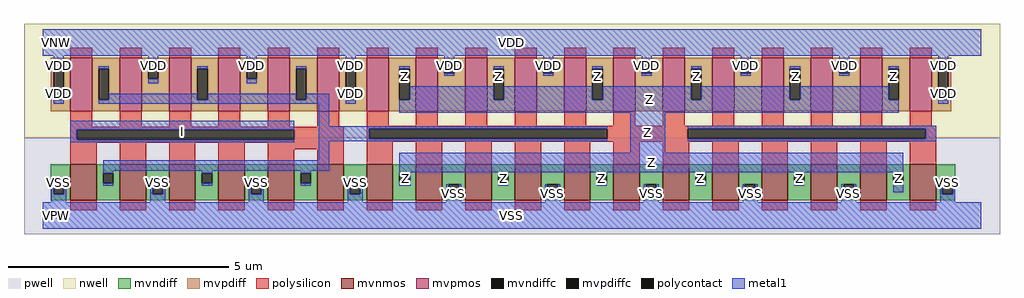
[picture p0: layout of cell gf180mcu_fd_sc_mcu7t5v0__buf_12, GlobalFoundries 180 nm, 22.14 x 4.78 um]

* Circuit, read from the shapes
.subckt gf180mcu_fd_sc_mcu7t5v0__buf_12 I Z VDD VNW VPW VSS
XM1 n1 I VSS VPW nfet_06v0 w=0.82u l=0.6u m=6
XM2 Z n1 VSS VPW nfet_06v0 w=0.82u l=0.6u m=12
XM3 n1 I VDD VNW pfet_06v0 w=1.22u l=0.5u m=6
XM4 Z n1 VDD VNW pfet_06v0 w=1.22u l=0.5u m=12
.ends

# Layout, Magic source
magic
tech gf180mcuD
magscale 1 10
<< nwell >>
rect -86 352 4342 870
<< pwell >>
rect -86 -86 4342 352
<< mvnmos >>
rect 124 68 244 232
rect 348 68 468 232
rect 572 68 692 232
rect 796 68 916 232
rect 1020 68 1140 232
rect 1244 68 1364 232
rect 1468 68 1588 232
rect 1692 68 1812 232
rect 1916 68 2036 232
rect 2140 68 2260 232
rect 2364 68 2484 232
rect 2588 68 2708 232
rect 2812 68 2932 232
rect 3036 68 3156 232
rect 3260 68 3380 232
rect 3484 68 3604 232
rect 3708 68 3828 232
rect 3932 68 4052 232
<< mvpmos >>
rect 124 472 224 716
rect 348 472 448 716
rect 572 472 672 716
rect 796 472 896 716
rect 1020 472 1120 716
rect 1244 472 1344 716
rect 1468 472 1568 716
rect 1692 472 1792 716
rect 1916 472 2016 716
rect 2140 472 2240 716
rect 2364 472 2464 716
rect 2588 472 2688 716
rect 2812 472 2912 716
rect 3036 472 3136 716
rect 3260 472 3360 716
rect 3484 472 3584 716
rect 3708 472 3808 716
rect 3932 472 4032 716
<< mvndiff >>
rect 36 142 124 232
rect 36 96 49 142
rect 95 96 124 142
rect 36 68 124 96
rect 244 192 348 232
rect 244 146 273 192
rect 319 146 348 192
rect 244 68 348 146
rect 468 142 572 232
rect 468 96 497 142
rect 543 96 572 142
rect 468 68 572 96
rect 692 192 796 232
rect 692 146 721 192
rect 767 146 796 192
rect 692 68 796 146
rect 916 142 1020 232
rect 916 96 945 142
rect 991 96 1020 142
rect 916 68 1020 96
rect 1140 192 1244 232
rect 1140 146 1169 192
rect 1215 146 1244 192
rect 1140 68 1244 146
rect 1364 142 1468 232
rect 1364 96 1393 142
rect 1439 96 1468 142
rect 1364 68 1468 96
rect 1588 192 1692 232
rect 1588 146 1617 192
rect 1663 146 1692 192
rect 1588 68 1692 146
rect 1812 142 1916 232
rect 1812 96 1841 142
rect 1887 96 1916 142
rect 1812 68 1916 96
rect 2036 192 2140 232
rect 2036 146 2065 192
rect 2111 146 2140 192
rect 2036 68 2140 146
rect 2260 142 2364 232
rect 2260 96 2289 142
rect 2335 96 2364 142
rect 2260 68 2364 96
rect 2484 192 2588 232
rect 2484 146 2513 192
rect 2559 146 2588 192
rect 2484 68 2588 146
rect 2708 142 2812 232
rect 2708 96 2737 142
rect 2783 96 2812 142
rect 2708 68 2812 96
rect 2932 192 3036 232
rect 2932 146 2961 192
rect 3007 146 3036 192
rect 2932 68 3036 146
rect 3156 142 3260 232
rect 3156 96 3185 142
rect 3231 96 3260 142
rect 3156 68 3260 96
rect 3380 192 3484 232
rect 3380 146 3409 192
rect 3455 146 3484 192
rect 3380 68 3484 146
rect 3604 142 3708 232
rect 3604 96 3633 142
rect 3679 96 3708 142
rect 3604 68 3708 96
rect 3828 192 3932 232
rect 3828 146 3857 192
rect 3903 146 3932 192
rect 3828 68 3932 146
rect 4052 142 4140 232
rect 4052 96 4081 142
rect 4127 96 4140 142
rect 4052 68 4140 96
<< mvpdiff >>
rect 36 665 124 716
rect 36 525 49 665
rect 95 525 124 665
rect 36 472 124 525
rect 224 665 348 716
rect 224 525 253 665
rect 299 525 348 665
rect 224 472 348 525
rect 448 665 572 716
rect 448 619 477 665
rect 523 619 572 665
rect 448 472 572 619
rect 672 665 796 716
rect 672 525 701 665
rect 747 525 796 665
rect 672 472 796 525
rect 896 665 1020 716
rect 896 619 925 665
rect 971 619 1020 665
rect 896 472 1020 619
rect 1120 665 1244 716
rect 1120 525 1149 665
rect 1195 525 1244 665
rect 1120 472 1244 525
rect 1344 665 1468 716
rect 1344 525 1373 665
rect 1419 525 1468 665
rect 1344 472 1468 525
rect 1568 665 1692 716
rect 1568 525 1617 665
rect 1663 525 1692 665
rect 1568 472 1692 525
rect 1792 691 1916 716
rect 1792 645 1821 691
rect 1867 645 1916 691
rect 1792 472 1916 645
rect 2016 665 2140 716
rect 2016 525 2045 665
rect 2091 525 2140 665
rect 2016 472 2140 525
rect 2240 691 2364 716
rect 2240 645 2269 691
rect 2315 645 2364 691
rect 2240 472 2364 645
rect 2464 665 2588 716
rect 2464 525 2493 665
rect 2539 525 2588 665
rect 2464 472 2588 525
rect 2688 691 2812 716
rect 2688 645 2717 691
rect 2763 645 2812 691
rect 2688 472 2812 645
rect 2912 665 3036 716
rect 2912 525 2941 665
rect 2987 525 3036 665
rect 2912 472 3036 525
rect 3136 691 3260 716
rect 3136 645 3165 691
rect 3211 645 3260 691
rect 3136 472 3260 645
rect 3360 665 3484 716
rect 3360 525 3389 665
rect 3435 525 3484 665
rect 3360 472 3484 525
rect 3584 691 3708 716
rect 3584 645 3613 691
rect 3659 645 3708 691
rect 3584 472 3708 645
rect 3808 665 3932 716
rect 3808 525 3837 665
rect 3883 525 3932 665
rect 3808 472 3932 525
rect 4032 665 4120 716
rect 4032 525 4061 665
rect 4107 525 4120 665
rect 4032 472 4120 525
<< mvndiffc >>
rect 49 96 95 142
rect 273 146 319 192
rect 497 96 543 142
rect 721 146 767 192
rect 945 96 991 142
rect 1169 146 1215 192
rect 1393 96 1439 142
rect 1617 146 1663 192
rect 1841 96 1887 142
rect 2065 146 2111 192
rect 2289 96 2335 142
rect 2513 146 2559 192
rect 2737 96 2783 142
rect 2961 146 3007 192
rect 3185 96 3231 142
rect 3409 146 3455 192
rect 3633 96 3679 142
rect 3857 146 3903 192
rect 4081 96 4127 142
<< mvpdiffc >>
rect 49 525 95 665
rect 253 525 299 665
rect 477 619 523 665
rect 701 525 747 665
rect 925 619 971 665
rect 1149 525 1195 665
rect 1373 525 1419 665
rect 1617 525 1663 665
rect 1821 645 1867 691
rect 2045 525 2091 665
rect 2269 645 2315 691
rect 2493 525 2539 665
rect 2717 645 2763 691
rect 2941 525 2987 665
rect 3165 645 3211 691
rect 3389 525 3435 665
rect 3613 645 3659 691
rect 3837 525 3883 665
rect 4061 525 4107 665
<< polysilicon >>
rect 124 716 224 760
rect 348 716 448 760
rect 572 716 672 760
rect 796 716 896 760
rect 1020 716 1120 760
rect 1244 716 1344 760
rect 1468 716 1568 760
rect 1692 716 1792 760
rect 1916 716 2016 760
rect 2140 716 2240 760
rect 2364 716 2464 760
rect 2588 716 2688 760
rect 2812 716 2912 760
rect 3036 716 3136 760
rect 3260 716 3360 760
rect 3484 716 3584 760
rect 3708 716 3808 760
rect 3932 716 4032 760
rect 124 402 224 472
rect 348 402 448 472
rect 572 402 672 472
rect 796 402 896 472
rect 1020 402 1120 472
rect 1244 402 1344 472
rect 1468 407 1568 472
rect 1692 407 1792 472
rect 1916 407 2016 472
rect 2140 407 2240 472
rect 2364 407 2464 472
rect 2588 407 2688 472
rect 2812 407 2912 472
rect 3036 407 3136 472
rect 3260 407 3360 472
rect 3484 407 3584 472
rect 3708 407 3808 472
rect 3932 407 4032 472
rect 124 389 1364 402
rect 124 343 153 389
rect 1139 343 1364 389
rect 124 330 1364 343
rect 124 232 244 330
rect 348 232 468 330
rect 572 232 692 330
rect 796 232 916 330
rect 1020 300 1364 330
rect 1020 232 1140 300
rect 1244 232 1364 300
rect 1468 394 4052 407
rect 1468 348 1481 394
rect 2561 348 2925 394
rect 4005 348 4052 394
rect 1468 335 4052 348
rect 1468 232 1588 335
rect 1692 232 1812 335
rect 1916 232 2036 335
rect 2140 232 2260 335
rect 2364 232 2484 335
rect 2588 232 2708 335
rect 2812 232 2932 335
rect 3036 232 3156 335
rect 3260 232 3380 335
rect 3484 232 3604 335
rect 3708 232 3828 335
rect 3932 232 4052 335
rect 124 24 244 68
rect 348 24 468 68
rect 572 24 692 68
rect 796 24 916 68
rect 1020 24 1140 68
rect 1244 24 1364 68
rect 1468 24 1588 68
rect 1692 24 1812 68
rect 1916 24 2036 68
rect 2140 24 2260 68
rect 2364 24 2484 68
rect 2588 24 2708 68
rect 2812 24 2932 68
rect 3036 24 3156 68
rect 3260 24 3380 68
rect 3484 24 3604 68
rect 3708 24 3828 68
rect 3932 24 4052 68
<< polycontact >>
rect 153 343 1139 389
rect 1481 348 2561 394
rect 2925 348 4005 394
<< metal1 >>
rect 0 724 4256 844
rect 49 665 95 724
rect 49 506 95 525
rect 253 665 299 676
rect 477 665 523 724
rect 477 600 523 619
rect 701 665 747 676
rect 299 525 701 552
rect 925 665 971 724
rect 925 600 971 619
rect 1149 665 1195 676
rect 747 525 1149 552
rect 1373 665 1419 724
rect 1821 691 1867 724
rect 1195 525 1299 552
rect 253 506 1299 525
rect 1373 506 1419 525
rect 1617 665 1663 676
rect 2269 691 2315 724
rect 1821 634 1867 645
rect 2045 665 2091 676
rect 1663 525 2045 586
rect 2717 691 2763 724
rect 2269 634 2315 645
rect 2493 665 2539 676
rect 2091 525 2493 586
rect 3165 691 3211 724
rect 2717 634 2763 645
rect 2941 665 2987 676
rect 2539 525 2941 586
rect 3613 691 3659 724
rect 3165 634 3211 645
rect 3389 665 3435 676
rect 2987 525 3389 586
rect 3613 634 3659 645
rect 3837 665 3883 676
rect 3435 525 3837 586
rect 124 389 1140 430
rect 124 343 153 389
rect 1139 343 1140 389
rect 124 332 1140 343
rect 1252 405 1299 506
rect 1617 466 3883 525
rect 4061 665 4107 724
rect 4061 506 4107 525
rect 1252 394 2561 405
rect 1252 348 1481 394
rect 1252 337 2561 348
rect 1252 250 1299 337
rect 2664 284 2824 466
rect 2925 394 4052 406
rect 4005 348 4052 394
rect 2925 337 4052 348
rect 273 203 1299 250
rect 273 192 319 203
rect 38 142 106 153
rect 38 96 49 142
rect 95 96 106 142
rect 721 192 767 203
rect 273 135 319 146
rect 486 142 554 153
rect 38 60 106 96
rect 486 96 497 142
rect 543 96 554 142
rect 1169 192 1215 203
rect 721 135 767 146
rect 934 142 1002 153
rect 486 60 554 96
rect 934 96 945 142
rect 991 96 1002 142
rect 1617 196 3903 284
rect 1617 192 1669 196
rect 1169 135 1215 146
rect 1382 142 1450 153
rect 934 60 1002 96
rect 1382 96 1393 142
rect 1439 96 1450 142
rect 1663 146 1669 192
rect 1617 135 1669 146
rect 2065 192 2111 196
rect 1382 60 1450 96
rect 1830 96 1841 142
rect 1887 96 1898 142
rect 2065 135 2111 146
rect 2513 192 2559 196
rect 1830 60 1898 96
rect 2278 96 2289 142
rect 2335 96 2346 142
rect 2513 135 2559 146
rect 2961 192 3007 196
rect 2278 60 2346 96
rect 2726 96 2737 142
rect 2783 96 2794 142
rect 2961 135 3007 146
rect 3409 192 3455 196
rect 2726 60 2794 96
rect 3174 96 3185 142
rect 3231 96 3242 142
rect 3409 135 3455 146
rect 3857 192 3903 196
rect 3174 60 3242 96
rect 3622 96 3633 142
rect 3679 96 3690 142
rect 3857 106 3903 146
rect 4070 142 4138 153
rect 3622 60 3690 96
rect 4070 96 4081 142
rect 4127 96 4138 142
rect 4070 60 4138 96
rect 0 -60 4256 60
<< labels >>
flabel metal1 s 3837 586 3883 676 0 FreeSans 600 0 0 0 Z
port 2 nsew default output
flabel metal1 s 124 332 1140 430 0 FreeSans 600 0 0 0 I
port 1 nsew default input
flabel metal1 s 0 724 4256 844 0 FreeSans 400 0 0 0 VDD
port 3 nsew power bidirectional abutment
flabel metal1 s 4070 142 4138 153 0 FreeSans 400 0 0 0 VSS
port 6 nsew ground bidirectional abutment
flabel nwell s 10 734 110 834 0 FreeSans 400 0 0 0 VNW
port 4 nsew power bidirectional
flabel pwell s 10 -50 110 50 0 FreeSans 400 0 0 0 VPW
port 5 nsew ground bidirectional
rlabel metal1 s 3389 586 3435 676 1 Z
port 2 nsew default output
rlabel metal1 s 2941 586 2987 676 1 Z
port 2 nsew default output
rlabel metal1 s 2493 586 2539 676 1 Z
port 2 nsew default output
rlabel metal1 s 2045 586 2091 676 1 Z
port 2 nsew default output
rlabel metal1 s 1617 586 1663 676 1 Z
port 2 nsew default output
rlabel metal1 s 1617 466 3883 586 1 Z
port 2 nsew default output
rlabel metal1 s 2664 284 2824 466 1 Z
port 2 nsew default output
rlabel metal1 s 1617 196 3903 284 1 Z
port 2 nsew default output
rlabel metal1 s 3857 135 3903 196 1 Z
port 2 nsew default output
rlabel metal1 s 3409 135 3455 196 1 Z
port 2 nsew default output
rlabel metal1 s 2961 135 3007 196 1 Z
port 2 nsew default output
rlabel metal1 s 2513 135 2559 196 1 Z
port 2 nsew default output
rlabel metal1 s 2065 135 2111 196 1 Z
port 2 nsew default output
rlabel metal1 s 1617 135 1669 196 1 Z
port 2 nsew default output
rlabel metal1 s 3857 106 3903 135 1 Z
port 2 nsew default output
rlabel metal1 s 4061 634 4107 724 1 VDD
port 3 nsew power bidirectional abutment
rlabel metal1 s 3613 634 3659 724 1 VDD
port 3 nsew power bidirectional abutment
rlabel metal1 s 3165 634 3211 724 1 VDD
port 3 nsew power bidirectional abutment
rlabel metal1 s 2717 634 2763 724 1 VDD
port 3 nsew power bidirectional abutment
rlabel metal1 s 2269 634 2315 724 1 VDD
port 3 nsew power bidirectional abutment
rlabel metal1 s 1821 634 1867 724 1 VDD
port 3 nsew power bidirectional abutment
rlabel metal1 s 1373 634 1419 724 1 VDD
port 3 nsew power bidirectional abutment
rlabel metal1 s 925 634 971 724 1 VDD
port 3 nsew power bidirectional abutment
rlabel metal1 s 477 634 523 724 1 VDD
port 3 nsew power bidirectional abutment
rlabel metal1 s 49 634 95 724 1 VDD
port 3 nsew power bidirectional abutment
rlabel metal1 s 4061 600 4107 634 1 VDD
port 3 nsew power bidirectional abutment
rlabel metal1 s 1373 600 1419 634 1 VDD
port 3 nsew power bidirectional abutment
rlabel metal1 s 925 600 971 634 1 VDD
port 3 nsew power bidirectional abutment
rlabel metal1 s 477 600 523 634 1 VDD
port 3 nsew power bidirectional abutment
rlabel metal1 s 49 600 95 634 1 VDD
port 3 nsew power bidirectional abutment
rlabel metal1 s 4061 506 4107 600 1 VDD
port 3 nsew power bidirectional abutment
rlabel metal1 s 1373 506 1419 600 1 VDD
port 3 nsew power bidirectional abutment
rlabel metal1 s 49 506 95 600 1 VDD
port 3 nsew power bidirectional abutment
rlabel metal1 s 1382 142 1450 153 1 VSS
port 6 nsew ground bidirectional abutment
rlabel metal1 s 934 142 1002 153 1 VSS
port 6 nsew ground bidirectional abutment
rlabel metal1 s 486 142 554 153 1 VSS
port 6 nsew ground bidirectional abutment
rlabel metal1 s 38 142 106 153 1 VSS
port 6 nsew ground bidirectional abutment
rlabel metal1 s 4070 60 4138 142 1 VSS
port 6 nsew ground bidirectional abutment
rlabel metal1 s 3622 60 3690 142 1 VSS
port 6 nsew ground bidirectional abutment
rlabel metal1 s 3174 60 3242 142 1 VSS
port 6 nsew ground bidirectional abutment
rlabel metal1 s 2726 60 2794 142 1 VSS
port 6 nsew ground bidirectional abutment
rlabel metal1 s 2278 60 2346 142 1 VSS
port 6 nsew ground bidirectional abutment
rlabel metal1 s 1830 60 1898 142 1 VSS
port 6 nsew ground bidirectional abutment
rlabel metal1 s 1382 60 1450 142 1 VSS
port 6 nsew ground bidirectional abutment
rlabel metal1 s 934 60 1002 142 1 VSS
port 6 nsew ground bidirectional abutment
rlabel metal1 s 486 60 554 142 1 VSS
port 6 nsew ground bidirectional abutment
rlabel metal1 s 38 60 106 142 1 VSS
port 6 nsew ground bidirectional abutment
rlabel metal1 s 0 -60 4256 60 1 VSS
port 6 nsew ground bidirectional abutment
<< properties >>
string FIXED_BBOX 0 0 4256 784
string GDS_END 1360632
string GDS_FILE $PDKPATH/libs.ref/gf180mcu_fd_sc_mcu7t5v0/gds/gf180mcu_fd_sc_mcu7t5v0.gds
string GDS_START 1351092
string LEFclass core
string LEFsite GF018hv5v_mcu_sc7
string LEFsymmetry X Y
<< end >>
